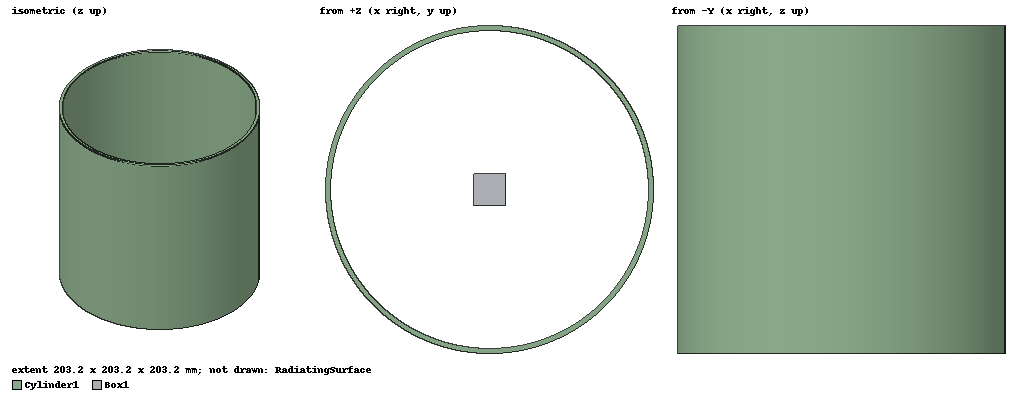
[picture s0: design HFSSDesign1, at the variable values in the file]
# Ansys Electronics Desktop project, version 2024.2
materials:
  vacuum: permittivity=1
  FR4_epoxy: permittivity=4.4 dielectric_loss_tangent=0.02
  pec: conductivity=1e+30

design HFSSDesign1 (HFSS, HFSS Terminal Network, model units mm)
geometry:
  Cylinder1 [FR4_epoxy] = cylinder(axis=Z, base_centre=(0mm, 0mm, 0mm), radius=4in, height=8in)
  Cylinder2 = cylinder(axis=Z, base_centre=(0mm, 0mm, 0mm), radius=4in-0.125in, height=8in)
  Cylinder1.subtract(Cylinder2)
  Box1 [pec] = box(corner=(-10mm, -10mm, 0mm), size=(20mm, 20mm, 30mm))
  RadiatingSurface [vacuum] = region(absolute_offset=109.28962mm on all sides)
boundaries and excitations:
  Open1: Radiation Objects=RadiatingSurface
  IncFFWave1: Far Field Incident Wave Objects=Box1 IsFarField UseDataLink LinkID=92 Project="PF_PatchAntenna - Pranav Edit - v2 (Best Current Design).aedt" Product=HFSS Design=HFSSDesign1 Params{$Air_Height=0.08meter $Patch_Length=0.07299977meter $Patch_Width=0.10247068meter $Substrate_Length=0.109494912meter $Substrate_Thickness=0.006meter $Substrate_Width=0.11246602meter $X_Offset=0.022395418meter} ForceSourceToSolve PathRelativeTo=TargetProject SourceCoordSystem=1
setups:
  Setup1: HfssDriven Frequency=0.915GHz MaxDeltaE=0.1 MaximumPasses=6 MinimumPasses=1 MinimumConvergedPasses=1 PercentRefinement=30 BasisOrder=1 DrivenSolverType="Direct Solver"
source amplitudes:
  IncFFWave1:1: 1 0deg
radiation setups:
  3D: Infinite Sphere Theta=0deg..180deg step 2deg Phi=-180deg..180deg step 2deg
  Elevation: Infinite Sphere Theta=-180deg..180deg step 1deg Phi=0deg..90deg step 90deg
  Azimuth: Infinite Sphere Theta=90deg..90deg step 0deg Phi=-180deg..180deg step 1deg
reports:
  rE Plot 1: dB(rETotal) vs Phi, Theta on Setup1 : LastAdaptive, 3D [Freq=0.915GHz]
